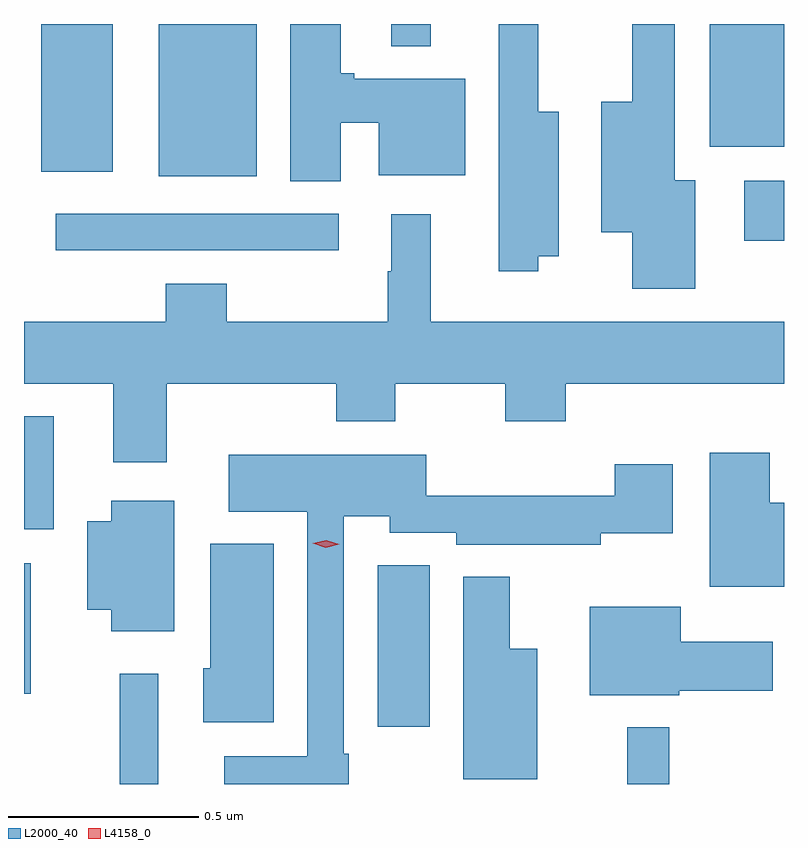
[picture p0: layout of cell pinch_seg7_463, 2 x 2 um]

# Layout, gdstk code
import gdstk
lib = gdstk.Library(unit=1e-6, precision=1e-09)
def R(c, l, rs):  # rectangles x0, y0, x1, y1
    for r in rs: c.add(gdstk.rectangle(r[:2], r[2:], *l))
def P(c, l, *ps):  # polygons
    for p in ps: c.add(gdstk.Polygon(p, *l))
L2000_40 = (2000, 40)
L4158_0 = (4158, 0)

pinch_seg7_463 = lib.new_cell('pinch_seg7_463')
R(pinch_seg7_463, L2000_40, [(265.468,1055.507,265.569,1055.797), (266.803,1055.507,266.914,1055.656), (266.147,1055.658,266.284,1056.083), (265.216,1055.744,265.234,1056.088), (265.216,1056.177,265.294,1056.475), (265.299,1056.912,266.044,1057.008), (267.111,1056.936,267.216,1057.095), (265.571,1057.106,265.828,1057.507), (265.262,1057.118,265.45,1057.507), (267.02,1057.184,267.216,1057.507), (266.183,1057.448,266.287,1057.507)])
P(pinch_seg7_463, L2000_40, [(266.983,1057.096),(266.929,1057.096),(266.929,1057.507),(266.816,1057.507),(266.816,1057.303),(266.735,1057.303),(266.735,1056.959),(266.816,1056.959),(266.816,1056.81),(266.983,1056.81)],
  [(266.569,1056.896),(266.623,1056.896),(266.623,1057.276),(266.569,1057.276),(266.569,1057.507),(266.465,1057.507),(266.465,1056.857),(266.569,1056.857)],
  [(266.05,1057.247),(266.15,1057.247),(266.15,1057.109),(266.377,1057.109),(266.377,1057.363),(266.085,1057.363),(266.085,1057.377),(266.05,1057.377),(266.05,1057.507),(265.916,1057.507),(265.916,1057.093),(266.05,1057.093)],
  [(265.591,1056.56),(266.038,1056.56),(266.038,1056.461),(266.193,1056.461),(266.193,1056.56),(266.482,1056.56),(266.482,1056.461),(266.642,1056.461),(266.642,1056.56),(267.216,1056.56),(267.216,1056.724),(266.287,1056.724),(266.287,1057.006),(266.183,1057.006),(266.183,1056.857),(266.173,1056.857),(266.173,1056.724),(265.749,1056.724),(265.749,1056.823),(265.589,1056.823),(265.589,1056.724),(265.216,1056.724),(265.216,1056.56),(265.451,1056.56),(265.451,1056.354),(265.591,1056.354)],
  [(267.216,1056.247),(267.178,1056.247),(267.178,1056.379),(267.02,1056.379),(267.02,1056.026),(267.216,1056.026)],
  [(266.071,1055.587),(266.058,1055.587),(266.058,1056.212),(266.178,1056.212),(266.178,1056.168),(266.354,1056.168),(266.354,1056.137),(266.734,1056.137),(266.734,1056.167),(266.923,1056.167),(266.923,1056.349),(266.771,1056.349),(266.771,1056.265),(266.274,1056.265),(266.274,1056.373),(265.755,1056.373),(265.755,1056.224),(265.962,1056.224),(265.962,1055.58),(265.743,1055.58),(265.743,1055.507),(266.071,1055.507)],
  [(265.612,1056.253),(265.445,1056.253),(265.445,1056.199),(265.382,1056.199),(265.382,1055.966),(265.445,1055.966),(265.445,1055.909),(265.612,1055.909)],
  [(265.873,1056.139),(265.706,1056.139),(265.706,1055.811),(265.688,1055.811),(265.688,1055.669),(265.873,1055.669)],
  [(266.566,1055.863),(266.494,1055.863),(266.494,1056.052),(266.372,1056.052),(266.372,1055.519),(266.566,1055.519)],
  [(266.94,1055.752),(267.187,1055.752),(267.187,1055.881),(266.944,1055.881),(266.944,1055.974),(266.705,1055.974),(266.705,1055.741),(266.94,1055.741)])
P(pinch_seg7_463, L4158_0, [(266.01,1056.129),(265.976,1056.14),(265.976,1056.14),(265.976,1056.14),(266.011,1056.149),(266.046,1056.138),(266.046,1056.138),(266.046,1056.138)])

lib.write_gds('pinch_seg7_463.gds')
